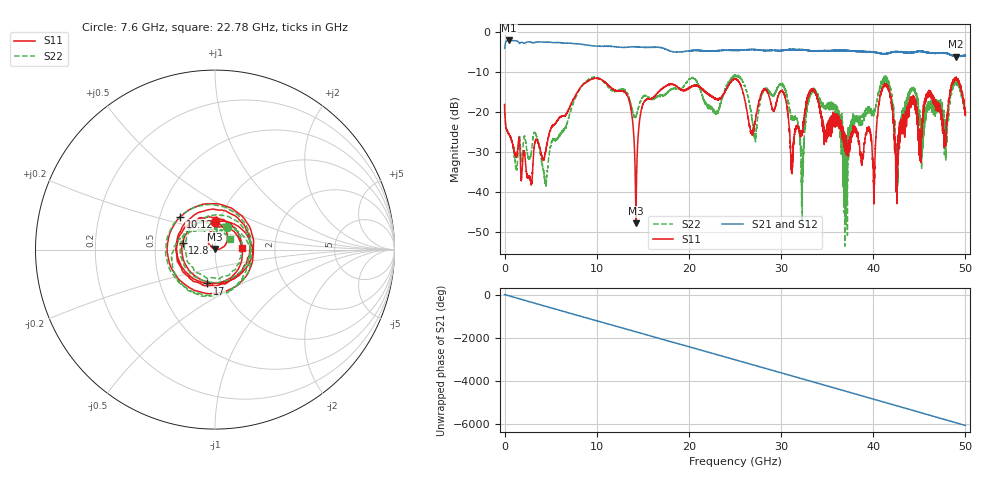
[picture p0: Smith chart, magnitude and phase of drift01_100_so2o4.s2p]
!Created with skrf (http://scikit-rf.org).
# Hz S RI R 50.0
!freq ReS11 ImS11 ReS21 ImS21 ReS12 ImS12 ReS22 ImS22
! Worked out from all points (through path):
!   10001 points, 300 kHz to 50 GHz, reference 50 ohm
!   highest |S21| = -2.00 dB at 490.3 MHz (marker M1); lowest = -6.1 dB at 48.98 GHz (marker M2)
!   group delay of S21, straight-line fit = 336 ps
!   lowest |S11| = -47.8 dB at 14.25 GHz (marker M3), VSWR 1.01, Z = 50.1 + j0.401 ohm
!   |S11| at or under -10 dB: start of sweep to end of sweep
!   |S22| runs from -53.5 to -10.6 dB; largest |S21 - S12| = 0.023
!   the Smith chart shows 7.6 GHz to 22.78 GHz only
!   S11 on the Smith chart (normalised r, x): 7.6 GHz: 0.96, +0.30; 10.12 GHz: 0.64, +0.25; 12.8 GHz: 0.69, +0.06; 17 GHz: 0.85, -0.34; 22.78 GHz: 1.35, +0.02
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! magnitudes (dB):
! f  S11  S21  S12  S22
! 300 kHz  -18.1  -3.9  -4.0  -17.8
! 490.3 MHz  -25.6  -2.0  -2.0  -25.5
! 4.445 GHz  -29.9  -2.4  -2.4  -37.6
! 7.6 GHz  -16.2  -2.8  -2.8  -16.8
! 8.335 GHz  -13.5  -3.0  -3.0  -13.5
! 10.12 GHz  -11.5  -3.4  -3.4  -11.4
! 12.8 GHz  -14.7  -3.7  -3.7  -14.3
! 14.25 GHz  -47.8  -3.6  -3.6  -21.1
! 16.67 GHz  -14.9  -3.7  -3.7  -15.8
! 17 GHz  -14.2  -3.8  -3.8  -15.7
! 22.78 GHz  -16.5  -4.6  -4.6  -19.9
! 25 GHz  -11.6  -4.5  -4.5  -10.9
! 27.15 GHz  -22.6  -4.3  -4.3  -25.6
! 30.2 GHz  -14.9  -4.5  -4.5  -13.1
! 32.26 GHz  -25.4  -4.3  -4.4  -38.9
! 33.34 GHz  -14.2  -4.6  -4.6  -14.7
! 37.02 GHz  -26.7  -4.5  -4.5  -34.9
! 40.06 GHz  -42.3  -4.9  -5.0  -20.5
! 41.67 GHz  -14.2  -5.1  -5.1  -12.5
! 42.56 GHz  -33.6  -4.8  -4.8  -28.3
! 48.98 GHz  -11.3  -6.1  -6.0  -12.7
! 50 GHz  -19.6  -5.8  -5.8  -19.6
